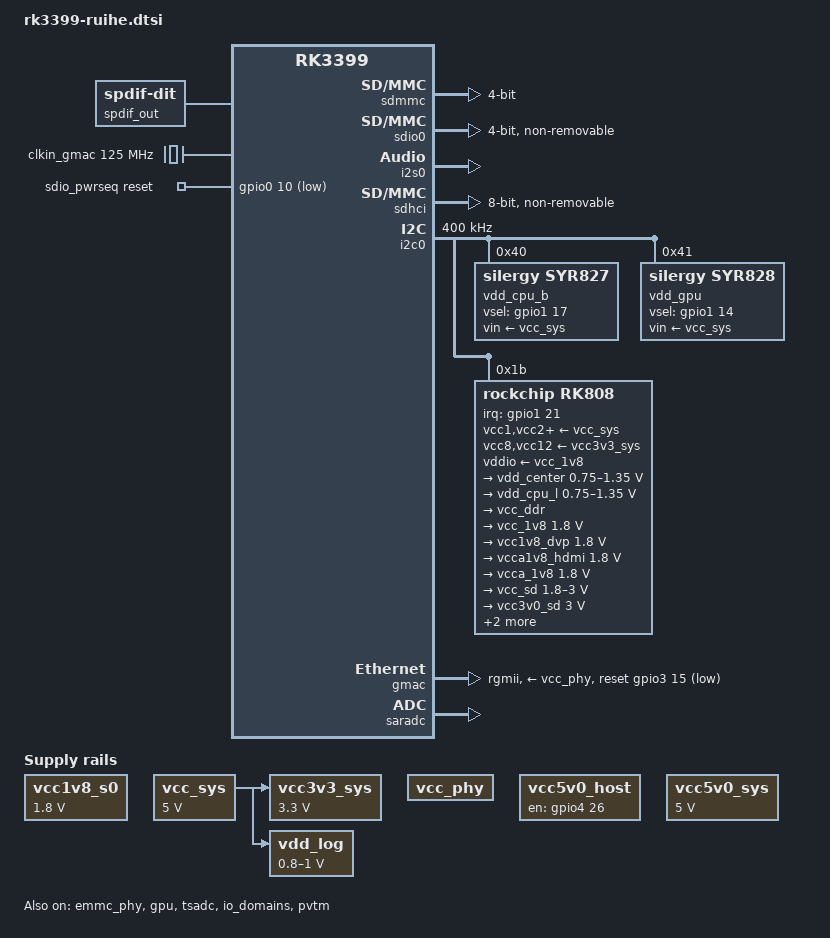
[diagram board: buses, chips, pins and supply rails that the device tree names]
/*
 * Copyright (c) 2016 Fuzhou Rockchip Electronics Co., Ltd
 *
 * This file is dual-licensed: you can use it either under the terms
 * of the GPL or the X11 license, at your option. Note that this dual
 * licensing only applies to this file, and not this project as a
 * whole.
 *
 *  a) This file is free software; you can redistribute it and/or
 *     modify it under the terms of the GNU General Public License as
 *     published by the Free Software Foundation; either version 2 of the
 *     License, or (at your option) any later version.
 *
 *     This file is distributed in the hope that it will be useful,
 *     but WITHOUT ANY WARRANTY; without even the implied warranty of
 *     MERCHANTABILITY or FITNESS FOR A PARTICULAR PURPOSE.  See the
 *     GNU General Public License for more details.
 *
 * Or, alternatively,
 *
 *  b) Permission is hereby granted, free of charge, to any person
 *     obtaining a copy of this software and associated documentation
 *     files (the "Software"), to deal in the Software without
 *     restriction, including without limitation the rights to use,
 *     copy, modify, merge, publish, distribute, sublicense, and/or
 *     sell copies of the Software, and to permit persons to whom the
 *     Software is furnished to do so, subject to the following
 *     conditions:
 *
 *     The above copyright notice and this permission notice shall be
 *     included in all copies or substantial portions of the Software.
 *
 *     THE SOFTWARE IS PROVIDED "AS IS", WITHOUT WARRANTY OF ANY KIND,
 *     EXPRESS OR IMPLIED, INCLUDING BUT NOT LIMITED TO THE WARRANTIES
 *     OF MERCHANTABILITY, FITNESS FOR A PARTICULAR PURPOSE AND
 *     NONINFRINGEMENT. IN NO EVENT SHALL THE AUTHORS OR COPYRIGHT
 *     HOLDERS BE LIABLE FOR ANY CLAIM, DAMAGES OR OTHER LIABILITY,
 *     WHETHER IN AN ACTION OF CONTRACT, TORT OR OTHERWISE, ARISING
 *     FROM, OUT OF OR IN CONNECTION WITH THE SOFTWARE OR THE USE OR
 *     OTHER DEALINGS IN THE SOFTWARE.
 */
#include <dt-bindings/pwm/pwm.h>
#include <dt-bindings/input/input.h>
#include "rk3399.dtsi"
#include "rk3399-linux.dtsi"
#include "rk3399-opp.dtsi"

/ {
	compatible = "rockchip,rk3399-ruihe","rockchip,rk3399";
        spdif-sound {
                status = "disabled";
                compatible = "simple-audio-card";
                simple-audio-card,name = "ROCKCHIP,SPDIF";
                simple-audio-card,cpu {
                        sound-dai = <&spdif>;
                };
                simple-audio-card,codec {
                        sound-dai = <&spdif_out>;
                };
        };

        spdif_out: spdif-out {
                status = "okay";
                compatible = "linux,spdif-dit";
                #sound-dai-cells = <0>;
        };
				
        vcc1v8_s0: vcc1v8-s0 {
                compatible = "regulator-fixed";
                regulator-name = "vcc1v8_s0";
                regulator-min-microvolt = <1800000>;
                regulator-max-microvolt = <1800000>;
                regulator-always-on;
        };

        vcc_sys: vcc-sys {
                compatible = "regulator-fixed";
                regulator-name = "vcc_sys";
                regulator-min-microvolt = <5000000>;
                regulator-max-microvolt = <5000000>;
                regulator-always-on;
        };

        vcc_phy: vcc-phy-regulator {
                compatible = "regulator-fixed";
                regulator-name = "vcc_phy";
                regulator-always-on;
                regulator-boot-on;
        };

        vcc3v3_sys: vcc3v3-sys {
                compatible = "regulator-fixed";
                regulator-name = "vcc3v3_sys";
                regulator-min-microvolt = <3300000>;
                regulator-max-microvolt = <3300000>;
                regulator-always-on;
                vin-supply = <&vcc_sys>;
        };

       vcc5v0_host: vcc5v0-host-regulator {
                compatible = "regulator-fixed";
                enable-active-high;
                gpio = <&gpio4 26 GPIO_ACTIVE_HIGH>;
                pinctrl-names = "default";
                pinctrl-0 = <&host_vbus_drv>;
                regulator-name = "vcc5v0_host";
                regulator-always-on;
        };

        vcc5v0_sys: vcc5v0-sys {
                compatible = "regulator-fixed";
                regulator-name = "vcc5v0_sys";
                regulator-always-on;
                regulator-boot-on;
                regulator-min-microvolt = <5000000>;
                regulator-max-microvolt = <5000000>;
        };


        vdd_log: vdd-log {
                compatible = "pwm-regulator";
                pwms = <&pwm2 0 25000 1>;
                regulator-name = "vdd_log";
                regulator-min-microvolt = <800000>;
                regulator-max-microvolt = <1000000>;
                regulator-always-on;
                regulator-boot-on;

                /* for rockchip boot on */
                rockchip,pwm_id= <2>;
                rockchip,pwm_voltage = <900000>;

                vin-supply = <&vcc_sys>;
        };

	clkin_gmac: external-gmac-clock {
		compatible = "fixed-clock";
		clock-frequency = <125000000>;
		clock-output-names = "clkin_gmac";
		#clock-cells = <0>;
	};

        sdio_pwrseq: sdio-pwrseq {
                compatible = "mmc-pwrseq-simple";
                clocks = <&rk808 1>;
                clock-names = "ext_clock";
                pinctrl-names = "default";
                pinctrl-0 = <&wifi_enable_h>;

                /*
                 * On the module itself this is one of these (depending
                 * on the actual card populated):
                 * - SDIO_RESET_L_WL_REG_ON
                 * - PDN (power down when low)
                 */
                reset-gpios = <&gpio0 10 GPIO_ACTIVE_LOW>;
        };

	test_power: test-power {
		status = "okay";
	};

	rockchip-rt5670 {
		compatible = "rockchip-rt5670";
		dais {
			dai0 {
				audio-codec = <&rt5670>;
				audio-controller = <&i2s0>;
				format = "i2s";
				//continuous-clock;
				//bitclock-inversion;
				//frame-inversion;
				//bitclock-master;
				//frame-master;
			};
			dai1 	{
				audio-codec = <&rt5670>;
				audio-controller = <&i2s0>;
				format = "i2s";
				//continuous-clock;
				//bitclock-inversion;
				//frame-inversion;
				//bitclock-master;
				//frame-master;
			};
		};
	};
};
&sdmmc {
        //clock-frequency = <100000000>;
        //clock-freq-min-max = <100000 100000000>;

        clock-frequency = <20000000>;
        clock-freq-min-max = <400000 20000000>;
        card-detect-delay = <1200>;
        supports-sd;
        bus-width = <4>;
        cap-mmc-highspeed;
        cap-sd-highspeed;
        disable-wp;
        num-slots = <1>;
        //sd-uhs-sdr104;
        vqmmc-supply = <&vcc_sd>;
        pinctrl-names = "default";
        pinctrl-0 = <&sdmmc_clk &sdmmc_cmd &sdmmc_cd &sdmmc_bus4>;
        //card-detect-delay = <800>;
        status = "okay";
};

&sdio0 {
        clock-frequency = <100000000>;
        clock-freq-min-max = <200000 100000000>;
        supports-sdio;
        bus-width = <4>;
        disable-wp;
        cap-sd-highspeed;
        cap-sdio-irq;
        keep-power-in-suspend;
        mmc-pwrseq = <&sdio_pwrseq>;
        non-removable;
        num-slots = <1>;
        pinctrl-names = "default";
        pinctrl-0 = <&sdio0_bus4 &sdio0_cmd &sdio0_clk>;
        sd-uhs-sdr104;
        status = "okay";
};

&emmc_phy {
	status = "okay";
};

&i2s0 {
	status = "okay";
	rockchip,i2s-broken-burst-len;
	rockchip,playback-channels = <8>;
	rockchip,capture-channels = <8>;
	#sound-dai-cells = <0>;
	clock-names = "i2s_clk", "i2s_mclk","i2s_hclk";
	clocks = <&cru SCLK_I2S0_8CH>, <&cru SCLK_I2S_8CH_OUT>, <&cru HCLK_I2S0_8CH>;
	pinctrl-names = "default";
	pinctrl-0 = <&i2s0_8ch_bus>,<&i2s_8ch_mclk>;
};

/*&watchdog {
	status="disabled";
};*/
&sdhci {
	bus-width = <8>;
	mmc-hs400-1_8v;
	supports-emmc;
	non-removable;
	mmc-hs400-enhanced-strobe;
	status = "okay";
};
&gpio4 {
	status = "okay";
};
&gpio3 {
	status = "okay";
};
&i2c0 {
        status = "okay";
        i2c-scl-rising-time-ns = <168>;
        i2c-scl-falling-time-ns = <4>;
        clock-frequency = <400000>;

        vdd_cpu_b: syr827@40 {
                compatible = "silergy,syr827";
                reg = <0x40>;
                regulator-compatible = "fan53555-reg";
                pinctrl-0 = <&vsel1_gpio>;
                vsel-gpios = <&gpio1 17 GPIO_ACTIVE_HIGH>;
                regulator-name = "vdd_cpu_b";
                regulator-min-microvolt = <712500>;
                regulator-max-microvolt = <1500000>;
                regulator-ramp-delay = <1000>;
                fcs,suspend-voltage-selector = <1>;
                regulator-always-on;
                regulator-boot-on;
                vin-supply = <&vcc_sys>;
                regulator-state-mem {
                        regulator-off-in-suspend;
                };
        };

        vdd_gpu: syr828@41 {
                compatible = "silergy,syr828";
                reg = <0x41>;
                regulator-compatible = "fan53555-reg";
                pinctrl-0 = <&vsel2_gpio>;
                vsel-gpios = <&gpio1 14 GPIO_ACTIVE_HIGH>;
                regulator-name = "vdd_gpu";
                regulator-min-microvolt = <712500>;
                regulator-max-microvolt = <1500000>;
                regulator-ramp-delay = <1000>;
                fcs,suspend-voltage-selector = <1>;
                regulator-always-on;
                regulator-boot-on;
                vin-supply = <&vcc_sys>;
                regulator-initial-mode = <1>; /* 1:force PWM 2:auto */
                regulator-state-mem {
                        regulator-off-in-suspend;
                };
        };
        rk808: pmic@1b {
                compatible = "rockchip,rk808";
                reg = <0x1b>;
                interrupt-parent = <&gpio1>;
                interrupts = <21 IRQ_TYPE_LEVEL_LOW>;
                pinctrl-names = "default";
                pinctrl-0 = <&pmic_int_l>;
                rockchip,system-power-controller;
                wakeup-source;
                #clock-cells = <1>;
                clock-output-names = "xin32k", "rk808-clkout2";

                vcc1-supply = <&vcc_sys>;
                vcc2-supply = <&vcc_sys>;
                vcc3-supply = <&vcc_sys>;
                vcc4-supply = <&vcc_sys>;
                vcc6-supply = <&vcc_sys>;
                vcc7-supply = <&vcc_sys>;
                vcc8-supply = <&vcc3v3_sys>;
                vcc9-supply = <&vcc_sys>;
                vcc10-supply = <&vcc_sys>;
                vcc11-supply = <&vcc_sys>;
                vcc12-supply = <&vcc3v3_sys>;
                vddio-supply = <&vcc_1v8>;

                regulators {
                        vdd_center: DCDC_REG1 {
                                regulator-name = "vdd_center";
                                regulator-min-microvolt = <750000>;
                                regulator-max-microvolt = <1350000>;
                                regulator-ramp-delay = <6001>;
                                regulator-always-on;
                                regulator-boot-on;
                                regulator-state-mem {
                                        regulator-off-in-suspend;
                                };
                        };

                        vdd_cpu_l: DCDC_REG2 {
                                regulator-name = "vdd_cpu_l";
                                regulator-min-microvolt = <750000>;
                                regulator-max-microvolt = <1350000>;
                                regulator-ramp-delay = <6001>;
                                regulator-always-on;
                                regulator-boot-on;
                                regulator-state-mem {
                                        regulator-off-in-suspend;
                                };
                        };

                        vcc_ddr: DCDC_REG3 {
                                regulator-name = "vcc_ddr";
                                regulator-always-on;
                                regulator-boot-on;
                                regulator-state-mem {
                                        regulator-on-in-suspend;
                                };
                        };
                        vcc_1v8: DCDC_REG4 {
                                regulator-name = "vcc_1v8";
                                regulator-min-microvolt = <1800000>;
                                regulator-max-microvolt = <1800000>;
                                regulator-always-on;
                                regulator-boot-on;
                                regulator-state-mem {
                                        regulator-on-in-suspend;
                                        regulator-suspend-microvolt = <1800000>;
                                };
                        };

                        vcc1v8_dvp: LDO_REG1 {
                                regulator-name = "vcc1v8_dvp";
                                regulator-min-microvolt = <1800000>;
                                regulator-max-microvolt = <1800000>;
                                regulator-always-on;
                                regulator-boot-on;
                                regulator-state-mem {
                                        regulator-on-in-suspend;
                                        regulator-suspend-microvolt = <1800000>;
                                };
                        };

                        vcca1v8_hdmi: LDO_REG2 {
                                regulator-name = "vcca1v8_hdmi";
                                regulator-min-microvolt = <1800000>;
                                regulator-max-microvolt = <1800000>;
                                regulator-always-on;
                                regulator-boot-on;
                                regulator-state-mem {
                                        regulator-on-in-suspend;
                                        regulator-suspend-microvolt = <1800000>;
                                };
                        };

                        vcca_1v8: LDO_REG3 {
                                regulator-name = "vcca_1v8";
                                regulator-min-microvolt = <1800000>;
                                regulator-max-microvolt = <1800000>;
                                regulator-always-on;
                                regulator-boot-on;
                                regulator-state-mem {
                                        regulator-on-in-suspend;
                                        regulator-suspend-microvolt = <1800000>;
                                };
                        };

                        vcc_sd: LDO_REG4 {
                                regulator-name = "vcc_sd";
                                regulator-min-microvolt = <1800000>;
                                regulator-max-microvolt = <3000000>;
                                regulator-always-on;
                                regulator-boot-on;
                                regulator-state-mem {
                                        regulator-on-in-suspend;
                                        regulator-suspend-microvolt = <3000000>;
                                };
                        };

                        vcc3v0_sd: LDO_REG5 {
                                regulator-name = "vcc3v0_sd";
                                regulator-min-microvolt = <3000000>;
                                regulator-max-microvolt = <3000000>;
                                regulator-always-on;
                                regulator-boot-on;
                                regulator-state-mem {
                                        regulator-on-in-suspend;
                                        regulator-suspend-microvolt = <3000000>;
                                };
                        };

                        vcc_1v5: LDO_REG6 {
                                regulator-name = "vcc_1v5";
                                regulator-min-microvolt = <1500000>;
                                regulator-max-microvolt = <1500000>;
                                regulator-always-on;
                                regulator-boot-on;
                                regulator-state-mem {
                                        regulator-on-in-suspend;
                                        regulator-suspend-microvolt = <1500000>;
                                };
                        };

                        vcca0v9_hdmi: LDO_REG7 {
                                regulator-name = "vcca0v9_hdmi";
                                regulator-min-microvolt = <900000>;
                                regulator-max-microvolt = <900000>;
                                regulator-always-on;
                                regulator-boot-on;
                                regulator-state-mem {
                                        regulator-on-in-suspend;
                                        regulator-suspend-microvolt = <900000>;
                                };
                        };

                        vcc_3v0: LDO_REG8 {
                                regulator-name = "vcc_3v0";
                                regulator-min-microvolt = <3000000>;
                                regulator-max-microvolt = <3000000>;
                                regulator-always-on;
                                regulator-boot-on;
                                regulator-state-mem {
                                        regulator-on-in-suspend;
                                        regulator-suspend-microvolt = <3000000>;
                                };
                        };

                        vcc3v3_s3: SWITCH_REG1 {
                                regulator-name = "vcc3v3_s3";
                                regulator-always-on;
                                regulator-boot-on;
                                regulator-state-mem {
                                        regulator-on-in-suspend;
                                };
                        };

                        vcc3v3_s0: SWITCH_REG2 {
                                regulator-name = "vcc3v3_s0";
                                regulator-always-on;
                                regulator-boot-on;
                                regulator-state-mem {
                                        regulator-on-in-suspend;
                                };
                        };
                };
        };
};

&cpu_l0 {
	cpu-supply = <&vdd_cpu_l>;
};

&cpu_l1 {
	cpu-supply = <&vdd_cpu_l>;
};

&cpu_l2 {
	cpu-supply = <&vdd_cpu_l>;
};

&cpu_l3 {
	cpu-supply = <&vdd_cpu_l>;
};

&cpu_b0 {
	cpu-supply = <&vdd_cpu_b>;
};

&cpu_b1 {
	cpu-supply = <&vdd_cpu_b>;
};

&gpu {
	status = "okay";
	mali-supply = <&vdd_gpu>;
};

&threshold {
	temperature = <85000>;
};

&target {
	temperature = <100000>;
};

&soc_crit {
	temperature = <105000>;
};

&tsadc {
	/* tshut mode 0:CRU 1:GPIO */
	rockchip,hw-tshut-mode = <1>;
	/* tshut polarity 0:LOW 1:HIGH */
	rockchip,hw-tshut-polarity = <1>;
	rockchip,hw-tshut-temp = <110000>;
	status = "okay";
};

&uart2 {
	status = "disabled";
};

&gmac {
	phy-supply = <&vcc_phy>;
	phy-mode = "rgmii";
	clock_in_out = "input";
	snps,reset-gpio = <&gpio3 15 GPIO_ACTIVE_LOW>;
	snps,reset-active-low;
	snps,reset-delays-us = <0 10000 50000>;
	assigned-clocks = <&cru SCLK_RMII_SRC>;
	assigned-clock-parents = <&clkin_gmac>;
	pinctrl-names = "default", "sleep";
	pinctrl-0 = <&rgmii_pins>;
	pinctrl-1 = <&rgmii_sleep_pins>;
	tx_delay = <0x28>;
	rx_delay = <0x11>;
	status = "okay";
};

&saradc {
	status = "okay";
};

&io_domains {
	status = "okay";
	//uboot-set = <(RK3399_BT656_VDD_1V8 | RK3399_AUDIO_VDD_1V8 | RK3399_GPIO1833_VDD_3V3)>;
	bt656-supply = <&vcc_3v0>; /* APIO2_VDD */
	audio-supply = <&vcc_1v8>; /* APIO5_VDD */
	sdmmc-supply = <&vcc_sd>; /* SDMMC0_VDD */
	gpio1830-supply = <&vcc_3v0>; /* APIO4_VDD */
};

&pinctrl {
        gmac {
                rgmii_sleep_pins: rgmii-sleep-pins {
                        rockchip,pins =
                                <3 15 RK_FUNC_GPIO &pcfg_output_low>;
                };
        };
	pmic {
		pmic_int_l: pmic-int-l {
			rockchip,pins =
				<1 21 RK_FUNC_GPIO &pcfg_pull_up>;
		};

		vsel1_gpio: vsel1-gpio {
			rockchip,pins =
				<1 17 RK_FUNC_GPIO &pcfg_pull_down>;
		};

		vsel2_gpio: vsel2-gpio {
			rockchip,pins =
				<1 14 RK_FUNC_GPIO &pcfg_pull_down>;
		};
	};
        sdio-pwrseq {
                wifi_enable_h: wifi-enable-h {
                        rockchip,pins =
                                <0 10 RK_FUNC_GPIO &pcfg_pull_none>;
                };
        };
        usb2 {
                host_vbus_drv: host-vbus-drv {
                        rockchip,pins =
                                <4 26 RK_FUNC_GPIO &pcfg_pull_none>;
                };
        };
	rgmii_crs02_pins: rgmii-crs02-pins {
		rockchip,pins =
		/* mac_txclk */
		<3 17 RK_FUNC_1 &pcfg_pull_none_13ma>,
		/* mac_rxclk */
		<3 14 RK_FUNC_1 &pcfg_pull_none>,
		/* mac_mdio */
		<3 13 RK_FUNC_1 &pcfg_pull_none>,
		/* mac_txen */
		<3 12 RK_FUNC_1 &pcfg_pull_none_13ma>,
		/* mac_clk */
		//<3 11 RK_FUNC_1 &pcfg_pull_none>,////This pin is used for i2c5
		/* mac_rxdv */
		<3 9 RK_FUNC_1 &pcfg_pull_none>,
		/* mac_mdc */
		<3 8 RK_FUNC_1 &pcfg_pull_none>,
		/* mac_rxd1 */
		<3 7 RK_FUNC_1 &pcfg_pull_none>,
		/* mac_rxd0 */
		<3 6 RK_FUNC_1 &pcfg_pull_none>,
		/* mac_txd1 */
		<3 5 RK_FUNC_1 &pcfg_pull_none_13ma>,
		/* mac_txd0 */
		<3 4 RK_FUNC_1 &pcfg_pull_none_13ma>,
		/* mac_rxd3 */
		<3 3 RK_FUNC_1 &pcfg_pull_none>,
		/* mac_rxd2 */
		<3 2 RK_FUNC_1 &pcfg_pull_none>,
		/* mac_txd3 */
		<3 1 RK_FUNC_1 &pcfg_pull_none_13ma>,
		/* mac_txd2 */
		<3 0 RK_FUNC_1 &pcfg_pull_none_13ma>;
	};
        gpio-leds {
                leds_gpio: leds-gpio {
                        rockchip,pins =
                                <3 16 RK_FUNC_GPIO &pcfg_pull_down>;
                };
        };

	i2s1 {
		i2s1_2ch_bus: i2s1-2ch-bus {
			rockchip,pins =
				<4 3 RK_FUNC_1 &pcfg_pull_none>,
				<4 4 RK_FUNC_1 &pcfg_pull_none>,
				//<4 5 RK_FUNC_1 &pcfg_pull_none>,
				<4 6 RK_FUNC_1 &pcfg_pull_none>;
				//<4 7 RK_FUNC_1 &pcfg_pull_none>;
		};
	};

	i2s0 {
		i2s0_8ch_bus: i2s0-8ch-bus {
			rockchip,pins =
				<3 24 RK_FUNC_1 &pcfg_pull_none>,
				<3 25 RK_FUNC_1 &pcfg_pull_none>,
				<3 26 RK_FUNC_1 &pcfg_pull_none>,
				<3 27 RK_FUNC_1 &pcfg_pull_none>,
				//<3 28 RK_FUNC_1 &pcfg_pull_none>,
				//<3 29 RK_FUNC_1 &pcfg_pull_none>,
				//<3 30 RK_FUNC_1 &pcfg_pull_none>,
				<3 31 RK_FUNC_1 &pcfg_pull_none>;
		};
	};
};

&pvtm {
	status = "okay";
};

&pmu_pvtm {
	status = "okay";
};

&pmu_io_domains {
	status = "okay";
	pmu1830-supply = <&vcc_1v8>;
};
